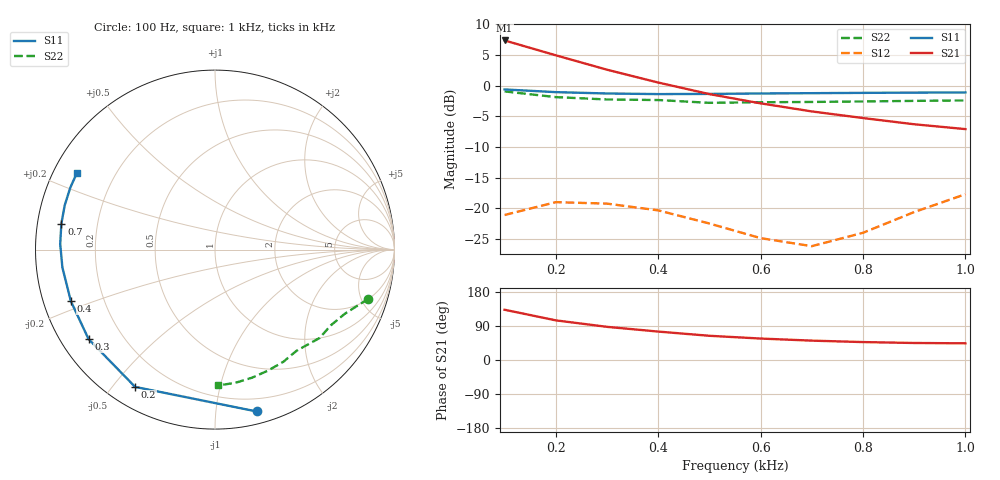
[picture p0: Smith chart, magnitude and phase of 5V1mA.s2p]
#  HZ  S  MA  R  50.0000
! Device:2SC5551A
! Bias:VCE=5V, IC=1mA
!MHZ	S11(MAG/ANG)		S21(MAG/ANG)		S12(MAG/ANG)		S22(MAG/ANG)
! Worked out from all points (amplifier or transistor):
!   10 points, 100 Hz to 1 kHz, reference 50 ohm
!   highest |S21| = 7.4 dB at 100 Hz (marker M1)
!   |S21| within 3 dB of that: start of sweep to 224.5 Hz
!   unconditionally stable (mu >= 1): 600.9 Hz to 814.1 Hz
!   at 200 Hz: K = 0.21, MSG = 12.0 dB, |S12| = -19.0 dB
!   at 600 Hz: K = 1.00, MSG = 11.0 dB, |S12| = -24.9 dB
!   at 1 kHz: K = 0.71, MSG = 5.3 dB, |S12| = -17.7 dB
!   S11 on the Smith chart (normalised r, x): 100 Hz: 0.09, -1.28; 200 Hz: 0.08, -0.57; 300 Hz: 0.08, -0.32; 400 Hz: 0.08, -0.17; 700 Hz: 0.07, +0.08; 1 kHz: 0.07, +0.26
100  0.931 -75.6  2.337 132.6  0.088 47.4  0.897 -17.8
200  0.885 -120.2  1.768 104.6  0.112 25.4  0.806 -26.4
300  0.863 -144.7  1.349 87.5  0.109 14.4  0.771 -33.2
400  0.853 -160.3  1.06 75.0  0.096 9.4  0.763 -40.2
500  0.856 -173.3  0.853 63.9  0.075 9.3  0.724 -51.1
600  0.863 178.0  0.717 56.6  0.057 21.0  0.732 -58.7
700  0.868 170.5  0.616 51.1  0.049 49.2  0.736 -66.5
800  0.873 163.6  0.544 47.3  0.063 77.6  0.743 -73.9
900  0.877 156.8  0.484 44.9  0.093 90.2  0.751 -81.4
1000  0.88 150.9  0.442 44.0  0.13 94.2  0.757 -88.7
